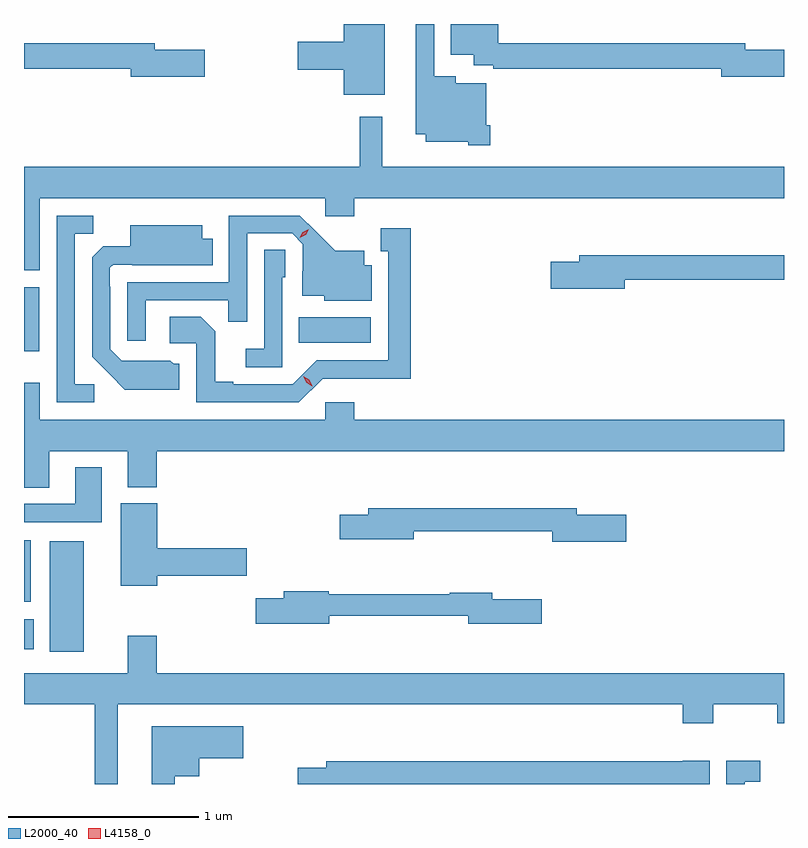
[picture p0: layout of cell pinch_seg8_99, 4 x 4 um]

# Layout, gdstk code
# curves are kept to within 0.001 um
import gdstk
lib = gdstk.Library(unit=1e-6, precision=1e-09)
def R(c, l, rs):  # rectangles x0, y0, x1, y1
    for r in rs: c.add(gdstk.rectangle(r[:2], r[2:], *l))
def P(c, l, *ps):  # polygons
    for p in ps: c.add(gdstk.Polygon(p, *l))
L2000_40 = (2000, 40)
L4158_0 = (4158, 0)

pinch_seg8_99 = lib.new_cell('pinch_seg8_99')
R(pinch_seg8_99, L2000_40, [(1043.15,1100.792,1043.329,1101.373), (1043.015,1100.805,1043.065,1100.964), (1043.015,1101.056,1043.05,1101.379), (1043.015,1102.374,1043.095,1102.711), (1044.46,1102.418,1044.841,1102.552)])
P(pinch_seg8_99, L2000_40, [(1045.469,1103.563),(1045.447,1103.563),(1045.447,1103.785),(1045.288,1103.785),(1045.288,1103.821),(1045.173,1103.821),(1045.173,1104.096),(1045.076,1104.096),(1045.076,1103.516),(1045.13,1103.516),(1045.13,1103.477),(1045.353,1103.477),(1045.353,1103.459),(1045.469,1103.459)],
  [(1044.913,1104.096),(1044.698,1104.096),(1044.698,1104.002),(1044.456,1104.002),(1044.456,1103.855),(1044.698,1103.855),(1044.698,1103.723),(1044.913,1103.723)],
  [(1047.015,1103.96),(1046.812,1103.96),(1046.812,1103.996),(1045.511,1103.996),(1045.511,1104.096),(1045.262,1104.096),(1045.262,1103.933),(1045.382,1103.933),(1045.382,1103.88),(1045.486,1103.88),(1045.486,1103.86),(1046.684,1103.86),(1046.684,1103.818),(1047.015,1103.818)],
  [(1043.965,1103.96),(1043.704,1103.96),(1043.704,1103.996),(1043.015,1103.996),(1043.015,1103.86),(1043.576,1103.86),(1043.576,1103.818),(1043.965,1103.818)],
  [(1043.098,1103.18),(1044.6,1103.18),(1044.6,1103.085),(1044.752,1103.085),(1044.752,1103.18),(1047.015,1103.18),(1047.015,1103.344),(1044.9,1103.344),(1044.9,1103.608),(1044.781,1103.608),(1044.781,1103.344),(1043.015,1103.344),(1043.015,1102.8),(1043.098,1102.8)],
  [(1043.386,1102.2),(1043.283,1102.2),(1043.283,1102.993),(1043.379,1102.993),(1043.379,1103.088),(1043.187,1103.088),(1043.187,1102.104),(1043.386,1102.104)],
  [(1043.655,1102.641),(1044.091,1102.641),(1044.091,1102.528),(1044.189,1102.528),(1044.189,1102.995),(1044.426,1102.995),(1044.483,1102.938),(1044.483,1102.796),(1044.479,1102.796),(1044.479,1102.667),(1044.594,1102.667),(1044.594,1102.64),(1044.844,1102.64),(1044.844,1102.825),(1044.805,1102.825),(1044.805,1102.903),(1044.653,1102.903),(1044.466,1103.088),(1044.093,1103.088),(1044.093,1102.737),(1043.559,1102.737),(1043.559,1102.428),(1043.655,1102.428)],
  [(1043.833,1102.308),(1043.802,1102.308),(1043.786,1102.324),(1043.529,1102.323),(1043.469,1102.383),(1043.469,1102.712),(1043.466,1102.712),(1043.466,1102.812),(1043.484,1102.83),(1043.584,1102.83),(1043.584,1102.826),(1044.008,1102.826),(1044.008,1102.966),(1043.953,1102.966),(1043.953,1103.038),(1043.573,1103.038),(1043.573,1102.927),(1043.432,1102.927),(1043.373,1102.868),(1043.373,1102.346),(1043.545,1102.172),(1043.833,1102.172)],
  [(1044.588,1102.23),(1045.051,1102.229),(1045.051,1103.02),(1044.893,1103.02),(1044.893,1102.899),(1044.932,1102.899),(1044.932,1102.326),(1044.555,1102.326),(1044.429,1102.2),(1044.115,1102.2),(1044.115,1102.213),(1044.021,1102.213),(1044.021,1102.48),(1043.945,1102.556),(1043.781,1102.556),(1043.781,1102.416),(1043.922,1102.416),(1043.922,1102.104),(1044.462,1102.104)],
  [(1044.375,1102.764),(1044.39,1102.764),(1044.39,1102.907),(1044.279,1102.907),(1044.279,1102.387),(1044.183,1102.387),(1044.183,1102.29),(1044.375,1102.29)],
  [(1046.176,1102.75),(1047.015,1102.75),(1047.015,1102.879),(1045.937,1102.879),(1045.937,1102.845),(1045.788,1102.845),(1045.788,1102.703),(1046.176,1102.703)],
  [(1043.149,1101.848),(1043.561,1101.848),(1043.561,1101.659),(1043.714,1101.659),(1043.714,1101.848),(1047.015,1101.848),(1047.015,1102.012),(1044.752,1102.012),(1044.752,1102.105),(1044.6,1102.105),(1044.6,1102.012),(1043.098,1102.012),(1043.098,1102.207),(1043.015,1102.207),(1043.015,1101.655),(1043.149,1101.655)],
  [(1043.425,1101.763),(1043.285,1101.763),(1043.285,1101.57),(1043.015,1101.57),(1043.015,1101.474),(1043.425,1101.474)],
  [(1043.716,1101.191),(1044.187,1101.191),(1044.187,1101.338),(1043.716,1101.338),(1043.716,1101.574),(1043.525,1101.574),(1043.525,1101.14),(1043.716,1101.14)],
  [(1046.185,1101.513),(1045.924,1101.513),(1045.924,1101.547),(1044.827,1101.547),(1044.827,1101.513),(1044.678,1101.513),(1044.678,1101.383),(1045.066,1101.383),(1045.066,1101.426),(1045.796,1101.426),(1045.796,1101.371),(1046.185,1101.371)],
  [(1044.622,1100.982),(1045.352,1100.982),(1045.352,1100.939),(1045.741,1100.939),(1045.741,1101.069),(1045.48,1101.069),(1045.48,1101.103),(1045.256,1101.103),(1045.256,1101.095),(1044.618,1101.095),(1044.618,1101.11),(1044.383,1101.11),(1044.383,1101.074),(1044.234,1101.074),(1044.234,1100.939),(1044.622,1100.939)],
  [(1043.509,1100.516),(1046.483,1100.516),(1046.483,1100.417),(1046.643,1100.417),(1046.643,1100.516),(1046.98,1100.516),(1046.98,1100.417),(1047.015,1100.417),(1047.015,1100.68),(1043.714,1100.68),(1043.714,1100.875),(1043.561,1100.875),(1043.561,1100.68),(1043.015,1100.68),(1043.015,1100.516),(1043.388,1100.516),(1043.388,1100.096),(1043.509,1100.096)],
  [(1043.809,1100.138),(1043.938,1100.138),(1043.938,1100.231),(1044.169,1100.231),(1044.169,1100.401),(1043.687,1100.401),(1043.687,1100.096),(1043.809,1100.096)],
  [(1046.623,1100.218),(1046.481,1100.218),(1046.481,1100.215),(1044.605,1100.215),(1044.605,1100.181),(1044.456,1100.181),(1044.456,1100.096),(1046.623,1100.096)],
  [(1046.808,1100.109),(1046.89,1100.109),(1046.89,1100.218),(1046.712,1100.218),(1046.712,1100.096),(1046.808,1100.096)])
P(pinch_seg8_99, L4158_0, [(1044.533,1102.189),(1044.502,1102.209),(1044.485,1102.242),(1044.485,1102.242),(1044.485,1102.242),(1044.516,1102.223),(1044.533,1102.19),(1044.533,1102.189)],
  [(1044.466,1102.971),(1044.466,1102.971),(1044.483,1103.001),(1044.514,1103.016),(1044.514,1103.016),(1044.514,1103.016),(1044.497,1102.986),(1044.466,1102.971)])

lib.write_gds('pinch_seg8_99.gds')
